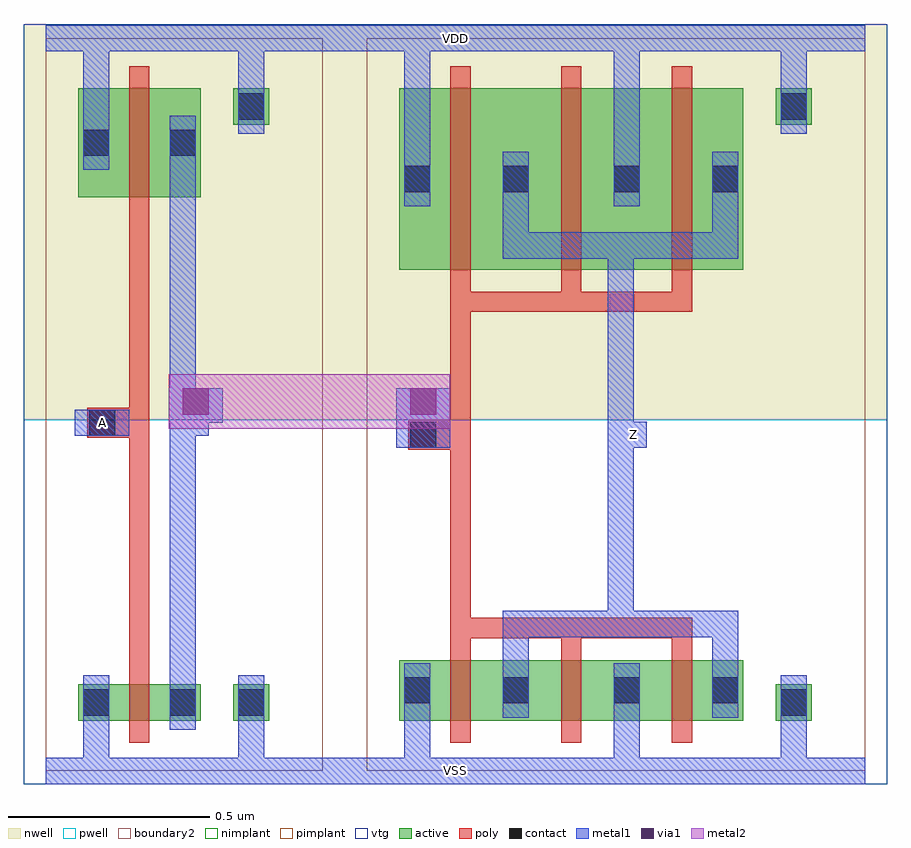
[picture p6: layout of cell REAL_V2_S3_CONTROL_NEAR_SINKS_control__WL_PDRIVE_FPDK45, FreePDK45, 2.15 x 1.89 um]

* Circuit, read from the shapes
.subckt REAL_V2_S3_CONTROL_NEAR_SINKS_control__WL_PDRIVE_FPDK45 A VDD VSS Z
M1 n1 A VSS VSS nfet w=0.09u l=0.05u
M2 Z n1 VSS VSS nfet w=0.15u l=0.05u m=3
M3 n1 A VDD VDD pfet w=0.27u l=0.05u
M4 Z n1 VDD VDD pfet w=0.45u l=0.05u m=3
.ends

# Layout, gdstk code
import gdstk
lib = gdstk.Library(unit=1e-6, precision=5e-10)
def R(c, l, rs):  # rectangles x0, y0, x1, y1
    for r in rs: c.add(gdstk.rectangle(r[:2], r[2:], *l))
def A(c, l, x, y, w, h, nx, ny, dx, dy):  # array of equal rectangles
    R(c, l, [(x+i*dx, y+j*dy, x+i*dx+w, y+j*dy+h) for i in range(nx) for j in range(ny)])
active = (1, 0)
pwell = (2, 0)
nwell = (3, 0)
nimplant = (4, 0)
pimplant = (5, 0)
vtg = (6, 0)
poly = (9, 0)
contact = (10, 0)
metal1 = (11, 0)
via1 = (12, 0)
metal2 = (13, 0)
boundary2 = (239, 0)

real_v2_s3_control_near_ = lib.new_cell('REAL_V2_S3_CONTROL_NEAR_SINKS_control__TEAMB_CLONE__inv1__PINV_NW90_PW270_L50__TRANSMISSION_GATE_NW250_PW500_L50_contact_8')
R(real_v2_s3_control_near_, active, [(0,0.0225,0.09,0.1125), (0,0.0225,0.09,0.1125), (0,0.0225,0.09,0.1125)])
R(real_v2_s3_control_near_, nwell, [(-0.055,-0.0325,0.145,0.1675), (-0.055,-0.0325,0.145,0.1675), (-0.055,-0.0325,0.145,0.1675)])
R(real_v2_s3_control_near_, pimplant, [(0,0.0225,0.09,0.1125), (0,0.0225,0.09,0.1125), (0,0.0225,0.09,0.1125)])
R(real_v2_s3_control_near_, contact, [(0.0125,0.035,0.0775,0.1), (0.0125,0.035,0.0775,0.1), (0.0125,0.035,0.0775,0.1)])
R(real_v2_s3_control_near_, metal1, [(0.0125,0,0.0775,0.135), (0.0125,0,0.0775,0.135), (0.0125,0,0.0775,0.135)])
R(real_v2_s3_control_near_, boundary2, [(-0.055,-0.0325,0.145,0.1675), (-0.055,-0.0325,0.145,0.1675), (-0.055,-0.0325,0.145,0.1675)])

c_real_v2_s3_control_near_ = lib.new_cell('REAL_V2_S3_CONTROL_NEAR_SINKS_control__TEAMB_CLONE__inv1__PINV_NW90_PW270_L50__PINV_NW180_PW270_L50_pmos_m1_w0_270_sm1_dm1_da_p')
R(c_real_v2_s3_control_near_, active, [(0,0,0.305,0.27), (0,0,0.305,0.27), (0,0,0.305,0.27)])
R(c_real_v2_s3_control_near_, nwell, [(-0.08,-0.08,0.385,0.35), (-0.08,-0.08,0.385,0.35), (-0.08,-0.08,0.385,0.35)])
R(c_real_v2_s3_control_near_, pimplant, [(0,0,0.305,0.27), (0,0,0.305,0.27), (0,0,0.305,0.27)])
R(c_real_v2_s3_control_near_, vtg, [(-0.08,-0.08,0.385,0.35), (-0.08,-0.08,0.385,0.35), (-0.08,-0.08,0.385,0.35)])
R(c_real_v2_s3_control_near_, poly, [(0.1275,-0.055,0.1775,0.325), (0.1275,-0.055,0.1775,0.325), (0.1275,-0.055,0.1775,0.325), (0.1275,-0.055,0.1775,0.325), (0.1275,-0.055,0.1775,0.325), (0.1275,-0.055,0.1775,0.325)])
R(c_real_v2_s3_control_near_, metal1, [(0.0125,0.0675,0.0775,0.2025), (0.0125,0.0675,0.0775,0.2025), (0.0125,0.0675,0.0775,0.2025), (0.2275,0.0675,0.2925,0.2025), (0.2275,0.0675,0.2925,0.2025), (0.2275,0.0675,0.2925,0.2025)])
R(c_real_v2_s3_control_near_, boundary2, [(-0.08,-0.08,0.385,0.35), (-0.08,-0.08,0.385,0.35), (-0.08,-0.08,0.385,0.35)])
c_real_v2_s3_control_near_.add(gdstk.Reference(real_v2_s3_control_near_, (0,0.0675)))
c_real_v2_s3_control_near_.add(gdstk.Reference(real_v2_s3_control_near_, (0.215,0.0675)))

c_real_v2_s3_control_near__ = lib.new_cell('REAL_V2_S3_CONTROL_NEAR_SINKS_control__TEAMB_CLONE__inv1__PINV_NW90_PW270_L50__TRANSMISSION_GATE_NW250_PW500_L50_contact_7')
R(c_real_v2_s3_control_near__, active, [(0,0.0225,0.09,0.1125), (0,0.0225,0.09,0.1125), (0,0.0225,0.09,0.1125)])
R(c_real_v2_s3_control_near__, pwell, [(-0.055,-0.0325,0.145,0.1675), (-0.055,-0.0325,0.145,0.1675), (-0.055,-0.0325,0.145,0.1675)])
R(c_real_v2_s3_control_near__, nimplant, [(0,0.0225,0.09,0.1125), (0,0.0225,0.09,0.1125), (0,0.0225,0.09,0.1125)])
R(c_real_v2_s3_control_near__, contact, [(0.0125,0.035,0.0775,0.1), (0.0125,0.035,0.0775,0.1), (0.0125,0.035,0.0775,0.1)])
R(c_real_v2_s3_control_near__, metal1, [(0.0125,0,0.0775,0.135), (0.0125,0,0.0775,0.135), (0.0125,0,0.0775,0.135)])
R(c_real_v2_s3_control_near__, boundary2, [(-0.055,-0.0325,0.145,0.1675), (-0.055,-0.0325,0.145,0.1675), (-0.055,-0.0325,0.145,0.1675)])

c_real_v2_s3_control_near___ = lib.new_cell('REAL_V2_S3_CONTROL_NEAR_SINKS_control__TEAMB_CLONE__inv1__PINV_NW90_PW270_L50__PINV_NW90_PW270_L50_nmos_m1_w0_090_sm1_dm1_da_p')
R(c_real_v2_s3_control_near___, active, [(0,0,0.305,0.09), (0,0,0.305,0.09), (0,0,0.305,0.09)])
R(c_real_v2_s3_control_near___, pwell, [(-0.08,-0.08,0.385,0.17), (-0.08,-0.08,0.385,0.17), (-0.08,-0.08,0.385,0.17)])
R(c_real_v2_s3_control_near___, nimplant, [(0,0,0.305,0.09), (0,0,0.305,0.09), (0,0,0.305,0.09)])
R(c_real_v2_s3_control_near___, vtg, [(-0.08,-0.08,0.385,0.17), (-0.08,-0.08,0.385,0.17), (-0.08,-0.08,0.385,0.17)])
R(c_real_v2_s3_control_near___, poly, [(0.1275,-0.055,0.1775,0.145), (0.1275,-0.055,0.1775,0.145), (0.1275,-0.055,0.1775,0.145), (0.1275,-0.055,0.1775,0.145), (0.1275,-0.055,0.1775,0.145), (0.1275,-0.055,0.1775,0.145)])
R(c_real_v2_s3_control_near___, metal1, [(0.0125,-0.0225,0.0775,0.1125), (0.0125,-0.0225,0.0775,0.1125), (0.0125,-0.0225,0.0775,0.1125), (0.2275,-0.0225,0.2925,0.1125), (0.2275,-0.0225,0.2925,0.1125), (0.2275,-0.0225,0.2925,0.1125)])
R(c_real_v2_s3_control_near___, boundary2, [(-0.08,-0.08,0.385,0.17), (-0.08,-0.08,0.385,0.17), (-0.08,-0.08,0.385,0.17)])
c_real_v2_s3_control_near___.add(gdstk.Reference(c_real_v2_s3_control_near__, (0,-0.0225)))
c_real_v2_s3_control_near___.add(gdstk.Reference(c_real_v2_s3_control_near__, (0.215,-0.0225)))

c_real_v2_s3_control_near____ = lib.new_cell('REAL_V2_S3_CONTROL_NEAR_SINKS_control__TEAMB_CLONE__inv1__PINV_NW90_PW270_L50__TRANSMISSION_GATE_NW250_PW500_L50_contact_9')
R(c_real_v2_s3_control_near____, active, [(0,0.0225,0.09,0.1125), (0,0.0225,0.09,0.1125), (0,0.0225,0.09,0.1125)])
R(c_real_v2_s3_control_near____, nwell, [(-0.055,-0.0325,0.145,0.1675), (-0.055,-0.0325,0.145,0.1675), (-0.055,-0.0325,0.145,0.1675)])
R(c_real_v2_s3_control_near____, nimplant, [(0,0.0225,0.09,0.1125), (0,0.0225,0.09,0.1125), (0,0.0225,0.09,0.1125)])
R(c_real_v2_s3_control_near____, contact, [(0.0125,0.035,0.0775,0.1), (0.0125,0.035,0.0775,0.1), (0.0125,0.035,0.0775,0.1)])
R(c_real_v2_s3_control_near____, metal1, [(0.0125,0,0.0775,0.135), (0.0125,0,0.0775,0.135), (0.0125,0,0.0775,0.135)])
R(c_real_v2_s3_control_near____, boundary2, [(-0.055,-0.0325,0.145,0.1675), (-0.055,-0.0325,0.145,0.1675), (-0.055,-0.0325,0.145,0.1675)])

c_real_v2_s3_control_near_____ = lib.new_cell('REAL_V2_S3_CONTROL_NEAR_SINKS_control__TEAMB_CLONE__inv1__PINV_NW90_PW270_L50__TRANSMISSION_GATE_NW250_PW500_L50_contact_10')
R(c_real_v2_s3_control_near_____, active, [(0,0.0225,0.09,0.1125), (0,0.0225,0.09,0.1125), (0,0.0225,0.09,0.1125)])
R(c_real_v2_s3_control_near_____, pwell, [(-0.055,-0.0325,0.145,0.1675), (-0.055,-0.0325,0.145,0.1675), (-0.055,-0.0325,0.145,0.1675)])
R(c_real_v2_s3_control_near_____, pimplant, [(0,0.0225,0.09,0.1125), (0,0.0225,0.09,0.1125), (0,0.0225,0.09,0.1125)])
R(c_real_v2_s3_control_near_____, contact, [(0.0125,0.035,0.0775,0.1), (0.0125,0.035,0.0775,0.1), (0.0125,0.035,0.0775,0.1)])
R(c_real_v2_s3_control_near_____, metal1, [(0.0125,0,0.0775,0.135), (0.0125,0,0.0775,0.135), (0.0125,0,0.0775,0.135)])
R(c_real_v2_s3_control_near_____, boundary2, [(-0.055,-0.0325,0.145,0.1675), (-0.055,-0.0325,0.145,0.1675), (-0.055,-0.0325,0.145,0.1675)])

c_real_v2_s3_control_near______ = lib.new_cell('REAL_V2_S3_CONTROL_NEAR_SINKS_control__TEAMB_CLONE__inv1__PINV_NW90_PW270_L50__PINV_NW180_PW270_L50_contact_11')
R(c_real_v2_s3_control_near______, poly, [(0.03,0,0.105,0.075), (0.03,0,0.105,0.075), (0.03,0,0.105,0.075)])
R(c_real_v2_s3_control_near______, contact, [(0.035,0.005,0.1,0.07), (0.035,0.005,0.1,0.07), (0.035,0.005,0.1,0.07)])
R(c_real_v2_s3_control_near______, metal1, [(0,0.005,0.135,0.07), (0,0.005,0.135,0.07), (0,0.005,0.135,0.07)])
R(c_real_v2_s3_control_near______, boundary2, [(0,0,0.135,0.075), (0,0,0.135,0.075), (0,0,0.135,0.075)])

c_real_v2_s3_control_near_______ = lib.new_cell('REAL_V2_S3_CONTROL_NEAR_SINKS_control__TEAMB_CLONE__inv1__PINV_NW90_PW270_L50__PINV_NW90_PW270_L50_core')
R(c_real_v2_s3_control_near_______, pwell, [(-0.055,-0.0325,0.7425,0.8725), (-0.055,-0.0325,0.7425,0.8725), (-0.055,-0.0325,0.7425,0.8725)])
R(c_real_v2_s3_control_near_______, nwell, [(-0.055,0.8725,0.7425,1.855), (-0.055,0.8725,0.7425,1.855), (-0.055,0.8725,0.7425,1.855)])
R(c_real_v2_s3_control_near_______, vtg, [(-0.055,-0.0325,0.7425,0.8725), (-0.055,-0.0325,0.7425,0.8725), (-0.055,-0.0325,0.7425,0.8725), (-0.055,0.8725,0.7425,1.855), (-0.055,0.8725,0.7425,1.855), (-0.055,0.8725,0.7425,1.855)])
R(c_real_v2_s3_control_near_______, poly, [(0.2075,0.27,0.2575,1.37), (0.2075,0.27,0.2575,1.37), (0.2075,0.27,0.2575,1.37), (0.14,0.8275,0.2075,0.9025), (0.14,0.8275,0.2075,0.9025), (0.14,0.8275,0.2075,0.9025)])
R(c_real_v2_s3_control_near_______, metal1, [(0,-0.0325,0.6875,0.0325), (0,-0.0325,0.6875,0.0325), (0,-0.0325,0.6875,0.0325), (0.0925,-0.0325,0.1575,0.1025), (0.0925,-0.0325,0.1575,0.1025), (0.0925,-0.0325,0.1575,0.1025), (0.4775,0,0.5425,0.17), (0.4775,0,0.5425,0.17), (0.4775,0,0.5425,0.17), (0.3075,0.1025,0.3725,1.6275), (0.3075,0.1025,0.3725,1.6275), (0.3075,0.1025,0.3725,1.6275), (0.0725,0.8325,0.2075,0.8975), (0.0725,0.8325,0.2075,0.8975), (0.0725,0.8325,0.2075,0.8975), (0.34,0.8325,0.405,0.8975), (0.34,0.8325,0.405,0.8975), (0.34,0.8325,0.405,0.8975), (0.0925,1.4925,0.1575,1.8525), (0.0925,1.4925,0.1575,1.8525), (0.0925,1.4925,0.1575,1.8525), (0.4775,1.65,0.5425,1.82), (0.4775,1.65,0.5425,1.82), (0.4775,1.65,0.5425,1.82), (0,1.7875,0.6875,1.8525), (0,1.7875,0.6875,1.8525), (0,1.7875,0.6875,1.8525)])
R(c_real_v2_s3_control_near_______, boundary2, [(0,0,0.6875,1.82), (0,0,0.6875,1.82), (0,0,0.6875,1.82), (0,0,0.6875,1.82), (0,0,0.6875,1.82), (0,0,0.6875,1.82)])
c_real_v2_s3_control_near_______.add(gdstk.Reference(c_real_v2_s3_control_near_, (0.08,1.425)))
c_real_v2_s3_control_near_______.add(gdstk.Reference(c_real_v2_s3_control_near___, (0.08,0.125)))
c_real_v2_s3_control_near_______.add(gdstk.Reference(c_real_v2_s3_control_near____, (0.465,1.5825)))
c_real_v2_s3_control_near_______.add(gdstk.Reference(c_real_v2_s3_control_near_____, (0.465,0.1025)))
c_real_v2_s3_control_near_______.add(gdstk.Reference(c_real_v2_s3_control_near______, (0.0725,0.8275)))

c_real_v2_s3_control_near________ = lib.new_cell('REAL_V2_S3_CONTROL_NEAR_SINKS_control__TEAMB_CLONE__inv1__PINV_NW90_PW270_L50__PINV_NW90_PW270_L50')
R(c_real_v2_s3_control_near________, metal1, [(0,-0.0325,0.6875,0.0325), (0,-0.0325,0.6875,0.0325), (0,-0.0325,0.6875,0.0325), (0.0725,0.8325,0.2075,0.8975), (0.0725,0.8325,0.2075,0.8975), (0.0725,0.8325,0.2075,0.8975), (0.34,0.8325,0.405,0.8975), (0.34,0.8325,0.405,0.8975), (0.34,0.8325,0.405,0.8975), (0,1.7875,0.6875,1.8525), (0,1.7875,0.6875,1.8525), (0,1.7875,0.6875,1.8525)])
R(c_real_v2_s3_control_near________, boundary2, [(0,0,0.6875,1.82), (0,0,0.6875,1.82), (0,0,0.6875,1.82)])
c_real_v2_s3_control_near________.add(gdstk.Reference(c_real_v2_s3_control_near_______, (0,0)))

c_real_v2_s3_control_near_________ = lib.new_cell('REAL_V2_S3_CONTROL_NEAR_SINKS_control__TEAMB_CLONE__inv2__PINV_NW450_PW1350_L50__TRANSMISSION_GATE_NW250_PW500_L50_contact_8')
R(c_real_v2_s3_control_near_________, active, [(0,0.0225,0.09,0.1125)])
R(c_real_v2_s3_control_near_________, nwell, [(-0.055,-0.0325,0.145,0.1675)])
R(c_real_v2_s3_control_near_________, pimplant, [(0,0.0225,0.09,0.1125)])
R(c_real_v2_s3_control_near_________, contact, [(0.0125,0.035,0.0775,0.1)])
R(c_real_v2_s3_control_near_________, metal1, [(0.0125,0,0.0775,0.135)])
R(c_real_v2_s3_control_near_________, boundary2, [(-0.055,-0.0325,0.145,0.1675)])

c_real_v2_s3_control_near__________ = lib.new_cell('REAL_V2_S3_CONTROL_NEAR_SINKS_control__TEAMB_CLONE__inv2__PINV_NW450_PW1350_L50__PINV_NW450_PW1350_L50_pmos_m3_w0_450_sm1_dm1_da_p')
R(c_real_v2_s3_control_near__________, active, [(0,0,0.855,0.45)])
R(c_real_v2_s3_control_near__________, nwell, [(-0.08,-0.08,0.935,0.53)])
R(c_real_v2_s3_control_near__________, pimplant, [(0,0,0.855,0.45)])
R(c_real_v2_s3_control_near__________, vtg, [(-0.08,-0.08,0.935,0.53)])
A(c_real_v2_s3_control_near__________, poly, 0.1275, -0.055, 0.05, 0.56, 3, 1, 0.275, 0)
R(c_real_v2_s3_control_near__________, poly, [(0.1275,-0.105,0.7275,-0.055)])
R(c_real_v2_s3_control_near__________, metal1, [(0.2575,0.0275,0.8425,0.0925), (0.2575,0.06,0.3225,0.225), (0.7775,0.06,0.8425,0.225), (0.0125,0.1575,0.0775,0.2925), (0.5325,0.1575,0.5975,0.2925)])
R(c_real_v2_s3_control_near__________, boundary2, [(-0.08,-0.105,0.935,0.53)])
c_real_v2_s3_control_near__________.add(gdstk.Reference(c_real_v2_s3_control_near_________, (0,0.1575)))
c_real_v2_s3_control_near__________.add(gdstk.Reference(c_real_v2_s3_control_near_________, (0.245,0.1575)))
c_real_v2_s3_control_near__________.add(gdstk.Reference(c_real_v2_s3_control_near_________, (0.52,0.1575)))
c_real_v2_s3_control_near__________.add(gdstk.Reference(c_real_v2_s3_control_near_________, (0.765,0.1575)))

c_real_v2_s3_control_near___________ = lib.new_cell('REAL_V2_S3_CONTROL_NEAR_SINKS_control__TEAMB_CLONE__inv2__PINV_NW450_PW1350_L50__TRANSMISSION_GATE_NW250_PW500_L50_contact_7')
R(c_real_v2_s3_control_near___________, active, [(0,0.0225,0.09,0.1125)])
R(c_real_v2_s3_control_near___________, pwell, [(-0.055,-0.0325,0.145,0.1675)])
R(c_real_v2_s3_control_near___________, nimplant, [(0,0.0225,0.09,0.1125)])
R(c_real_v2_s3_control_near___________, contact, [(0.0125,0.035,0.0775,0.1)])
R(c_real_v2_s3_control_near___________, metal1, [(0.0125,0,0.0775,0.135)])
R(c_real_v2_s3_control_near___________, boundary2, [(-0.055,-0.0325,0.145,0.1675)])

c_real_v2_s3_control_near____________ = lib.new_cell('REAL_V2_S3_CONTROL_NEAR_SINKS_control__TEAMB_CLONE__inv2__PINV_NW450_PW1350_L50__PINV_NW450_PW1350_L50_nmos_m3_w0_150_sm1_dm1_da_p')
R(c_real_v2_s3_control_near____________, active, [(0,0,0.855,0.15)])
R(c_real_v2_s3_control_near____________, pwell, [(-0.08,-0.08,0.935,0.23)])
R(c_real_v2_s3_control_near____________, nimplant, [(0,0,0.855,0.15)])
R(c_real_v2_s3_control_near____________, vtg, [(-0.08,-0.08,0.935,0.23)])
A(c_real_v2_s3_control_near____________, poly, 0.1275, -0.055, 0.05, 0.26, 3, 1, 0.275, 0)
R(c_real_v2_s3_control_near____________, poly, [(0.1275,0.205,0.7275,0.255)])
R(c_real_v2_s3_control_near____________, metal1, [(0.0125,0.0075,0.0775,0.1425), (0.5325,0.0075,0.5975,0.1425), (0.2575,0.075,0.3225,0.24), (0.7775,0.075,0.8425,0.24), (0.2575,0.2075,0.8425,0.2725)])
R(c_real_v2_s3_control_near____________, boundary2, [(-0.08,-0.08,0.935,0.2725)])
c_real_v2_s3_control_near____________.add(gdstk.Reference(c_real_v2_s3_control_near___________, (0,0.0075)))
c_real_v2_s3_control_near____________.add(gdstk.Reference(c_real_v2_s3_control_near___________, (0.245,0.0075)))
c_real_v2_s3_control_near____________.add(gdstk.Reference(c_real_v2_s3_control_near___________, (0.52,0.0075)))
c_real_v2_s3_control_near____________.add(gdstk.Reference(c_real_v2_s3_control_near___________, (0.765,0.0075)))

c_real_v2_s3_control_near_____________ = lib.new_cell('REAL_V2_S3_CONTROL_NEAR_SINKS_control__TEAMB_CLONE__inv2__PINV_NW450_PW1350_L50__TRANSMISSION_GATE_NW250_PW500_L50_contact_9')
R(c_real_v2_s3_control_near_____________, active, [(0,0.0225,0.09,0.1125)])
R(c_real_v2_s3_control_near_____________, nwell, [(-0.055,-0.0325,0.145,0.1675)])
R(c_real_v2_s3_control_near_____________, nimplant, [(0,0.0225,0.09,0.1125)])
R(c_real_v2_s3_control_near_____________, contact, [(0.0125,0.035,0.0775,0.1)])
R(c_real_v2_s3_control_near_____________, metal1, [(0.0125,0,0.0775,0.135)])
R(c_real_v2_s3_control_near_____________, boundary2, [(-0.055,-0.0325,0.145,0.1675)])

c_real_v2_s3_control_near______________ = lib.new_cell('REAL_V2_S3_CONTROL_NEAR_SINKS_control__TEAMB_CLONE__inv2__PINV_NW450_PW1350_L50__TRANSMISSION_GATE_NW250_PW500_L50_contact_10')
R(c_real_v2_s3_control_near______________, active, [(0,0.0225,0.09,0.1125)])
R(c_real_v2_s3_control_near______________, pwell, [(-0.055,-0.0325,0.145,0.1675)])
R(c_real_v2_s3_control_near______________, pimplant, [(0,0.0225,0.09,0.1125)])
R(c_real_v2_s3_control_near______________, contact, [(0.0125,0.035,0.0775,0.1)])
R(c_real_v2_s3_control_near______________, metal1, [(0.0125,0,0.0775,0.135)])
R(c_real_v2_s3_control_near______________, boundary2, [(-0.055,-0.0325,0.145,0.1675)])

c_real_v2_s3_control_near_______________ = lib.new_cell('REAL_V2_S3_CONTROL_NEAR_SINKS_control__TEAMB_CLONE__inv2__PINV_NW450_PW1350_L50__PINV_NW180_PW270_L50_contact_11')
R(c_real_v2_s3_control_near_______________, poly, [(0.03,0,0.105,0.075)])
R(c_real_v2_s3_control_near_______________, contact, [(0.035,0.005,0.1,0.07)])
R(c_real_v2_s3_control_near_______________, metal1, [(0,0.005,0.135,0.07)])
R(c_real_v2_s3_control_near_______________, boundary2, [(0,0,0.135,0.075)])

c_real_v2_s3_control_near________________ = lib.new_cell('REAL_V2_S3_CONTROL_NEAR_SINKS_control__TEAMB_CLONE__inv2__PINV_NW450_PW1350_L50__PINV_NW450_PW1350_L50_core')
R(c_real_v2_s3_control_near________________, pwell, [(-0.055,-0.0325,1.2925,0.8725)])
R(c_real_v2_s3_control_near________________, nwell, [(-0.055,0.8725,1.2925,1.855)])
R(c_real_v2_s3_control_near________________, vtg, [(-0.055,-0.0325,1.2925,0.8725), (-0.055,0.8725,1.2925,1.855)])
R(c_real_v2_s3_control_near________________, poly, [(0.2075,0.38,0.2575,1.14), (0.14,0.7975,0.2075,0.8725)])
R(c_real_v2_s3_control_near________________, metal1, [(0,-0.0325,1.2375,0.0325), (0.0925,-0.0325,0.1575,0.1325), (0.6125,-0.0325,0.6775,0.1325), (1.0275,0,1.0925,0.17), (0.5975,0.3325,0.6625,1.3375), (0.0725,0.8025,0.2075,0.8675), (0.63,0.8025,0.695,0.8675), (0.0925,1.4025,0.1575,1.8525), (0.6125,1.4025,0.6775,1.8525), (1.0275,1.65,1.0925,1.82), (0,1.7875,1.2375,1.8525)])
R(c_real_v2_s3_control_near________________, boundary2, [(0,0,1.2375,1.82), (0,0,1.2375,1.82)])
c_real_v2_s3_control_near________________.add(gdstk.Reference(c_real_v2_s3_control_near__________, (0.08,1.245)))
c_real_v2_s3_control_near________________.add(gdstk.Reference(c_real_v2_s3_control_near____________, (0.08,0.125)))
c_real_v2_s3_control_near________________.add(gdstk.Reference(c_real_v2_s3_control_near_____________, (1.015,1.5825)))
c_real_v2_s3_control_near________________.add(gdstk.Reference(c_real_v2_s3_control_near______________, (1.015,0.1025)))
c_real_v2_s3_control_near________________.add(gdstk.Reference(c_real_v2_s3_control_near_______________, (0.0725,0.7975)))

c_real_v2_s3_control_near_________________ = lib.new_cell('REAL_V2_S3_CONTROL_NEAR_SINKS_control__TEAMB_CLONE__inv2__PINV_NW450_PW1350_L50__PINV_NW450_PW1350_L50')
R(c_real_v2_s3_control_near_________________, metal1, [(0,-0.0325,1.2375,0.0325), (0.0725,0.8025,0.2075,0.8675), (0.63,0.8025,0.695,0.8675), (0,1.7875,1.2375,1.8525)])
R(c_real_v2_s3_control_near_________________, boundary2, [(0,0,1.2375,1.82)])
c_real_v2_s3_control_near_________________.add(gdstk.Reference(c_real_v2_s3_control_near________________, (0,0)))

c_real_v2_s3_control_near__________________ = lib.new_cell('REAL_V2_S3_CONTROL_NEAR_SINKS_control__WL_PDRIVE_FPDK45')
R(c_real_v2_s3_control_near__________________, metal1, [(0.055,0,2.09,0.065), (0.925,0.8675,1.06,0.9825), (0.36,0.8975,0.495,0.9825), (0.055,1.82,2.09,1.885)])
R(c_real_v2_s3_control_near__________________, via1, [(0.395,0.9175,0.46,0.9825), (0.96,0.9175,1.025,0.9825)])
R(c_real_v2_s3_control_near__________________, metal2, [(0.36,0.8825,0.495,1.0175), (0.4275,0.8825,0.9925,1.0175), (0.925,0.8825,1.06,1.0175)])
c_real_v2_s3_control_near__________________.add(gdstk.Reference(c_real_v2_s3_control_near________, (0.055,0.0325)))
c_real_v2_s3_control_near__________________.add(gdstk.Reference(c_real_v2_s3_control_near_________________, (0.8525,0.0325)))
c_real_v2_s3_control_near__________________.add(gdstk.Label('VDD', (1.0725,1.8525), layer=11, texttype=2))
c_real_v2_s3_control_near__________________.add(gdstk.Label('VSS', (1.0725,0.0325), layer=11, texttype=2))
c_real_v2_s3_control_near__________________.add(gdstk.Label('A', (0.195,0.8975), layer=11, texttype=2))
c_real_v2_s3_control_near__________________.add(gdstk.Label('Z', (1.515,0.8675), layer=11, texttype=2))

lib.write_gds('REAL_V2_S3_CONTROL_NEAR_SINKS_control__WL_PDRIVE_FPDK45.gds')
